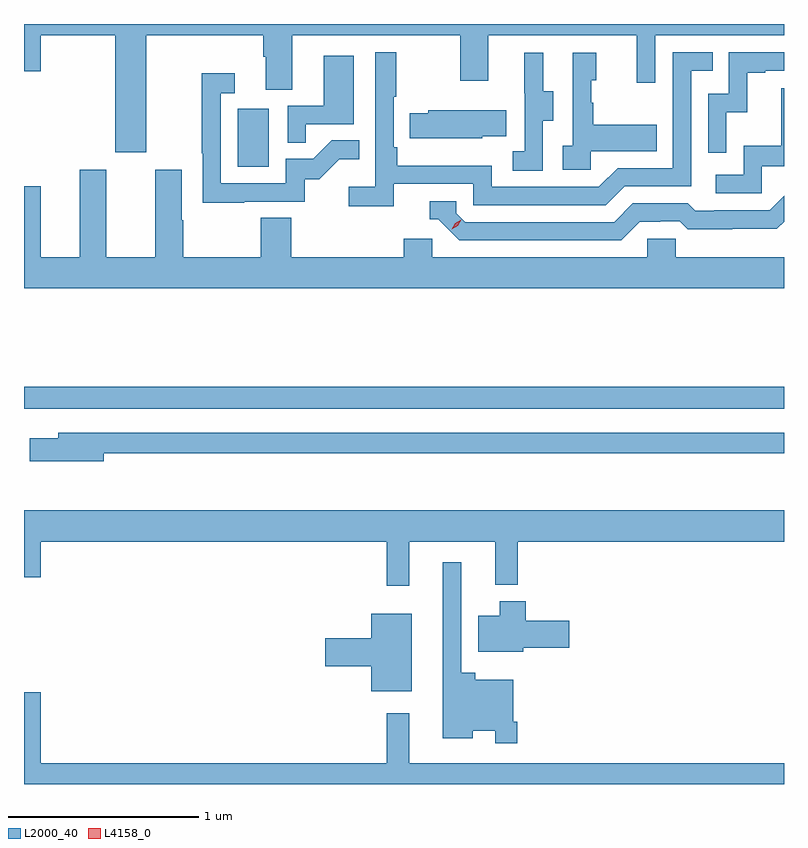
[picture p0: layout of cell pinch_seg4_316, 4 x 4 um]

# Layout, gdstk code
import gdstk
lib = gdstk.Library(unit=1e-6, precision=1e-09)
def R(c, l, rs):  # rectangles x0, y0, x1, y1
    for r in rs: c.add(gdstk.rectangle(r[:2], r[2:], *l))
def P(c, l, *ps):  # polygons
    for p in ps: c.add(gdstk.Polygon(p, *l))
L2000_40 = (2000, 40)
L4158_0 = (4158, 0)

pinch_seg4_316 = lib.new_cell('pinch_seg4_316')
R(pinch_seg4_316, L2000_40, [(908.339,804.18,912.339,804.296), (909.464,805.452,909.628,805.759)])
P(pinch_seg4_316, L2000_40, [(908.983,806.144),(909.599,806.144),(909.599,806.032),(909.611,806.032),(909.611,805.858),(909.751,805.858),(909.751,806.144),(910.636,806.144),(910.636,805.905),(910.783,805.905),(910.783,806.144),(911.564,806.144),(911.564,805.896),(911.661,805.896),(911.661,806.144),(912.339,806.144),(912.339,806.204),(908.339,806.204),(908.339,805.956),(908.428,805.956),(908.428,806.144),(908.819,806.144),(908.819,805.53),(908.983,805.53)],
  [(910.286,805.362),(910.704,805.362),(910.704,805.251),(911.401,805.251),(911.5,805.35),(911.85,805.35),(911.85,805.959),(911.963,805.959),(911.963,806.055),(911.754,806.055),(911.754,805.446),(911.463,805.446),(911.364,805.347),(910.8,805.347),(910.8,805.459),(910.304,805.459),(910.304,805.555),(910.284,805.555),(910.284,805.822),(910.297,805.822),(910.297,806.056),(910.188,806.056),(910.188,805.348),(910.047,805.348),(910.047,805.246),(910.286,805.246)],
  [(912.036,805.739),(912.146,805.739),(912.146,805.947),(912.241,805.947),(912.241,805.959),(912.339,805.959),(912.339,806.055),(912.048,806.055),(912.048,805.836),(911.94,805.836),(911.94,805.527),(912.036,805.527)],
  [(911.322,805.535),(911.669,805.535),(911.669,805.675),(911.335,805.675),(911.335,805.79),(911.325,805.79),(911.325,805.908),(911.35,805.908),(911.35,806.053),(911.226,806.053),(911.226,805.562),(911.175,805.562),(911.175,805.437),(911.322,805.437)],
  [(911.07,805.696),(911.125,805.696),(911.125,805.851),(911.071,805.851),(911.071,806.053),(910.973,806.053),(910.973,805.839),(910.974,805.839),(910.974,805.535),(910.911,805.535),(910.911,805.432),(911.07,805.432)],
  [(909.821,805.677),(910.075,805.677),(910.075,806.038),(909.917,806.038),(909.917,805.773),(909.726,805.773),(909.726,805.579),(909.821,805.579)],
  [(909.497,805.269),(909.816,805.269),(909.816,805.386),(909.892,805.386),(909.999,805.493),(910.103,805.493),(910.103,805.592),(909.959,805.592),(909.861,805.494),(909.717,805.494),(909.717,805.365),(909.375,805.365),(909.375,805.839),(909.448,805.839),(909.448,805.945),(909.274,805.945),(909.274,805.525),(909.279,805.525),(909.279,805.264),(909.497,805.264)],
  [(912.222,805.455),(912.339,805.455),(912.339,805.867),(912.325,805.867),(912.325,805.564),(912.126,805.564),(912.126,805.41),(911.979,805.41),(911.979,805.314),(912.222,805.314)],
  [(910.752,805.613),(910.877,805.613),(910.877,805.75),(910.467,805.75),(910.467,805.734),(910.369,805.734),(910.369,805.604),(910.752,805.604)],
  [(912.339,804.976),(911.769,804.976),(911.769,805.074),(911.619,805.074),(911.619,804.976),(910.488,804.976),(910.488,805.074),(910.337,805.074),(910.337,804.976),(909.746,804.976),(909.746,805.184),(909.586,805.184),(909.586,804.976),(909.177,804.976),(909.177,805.172),(909.169,805.172),(909.169,805.438),(909.029,805.438),(909.029,804.976),(908.773,804.976),(908.773,805.438),(908.633,805.438),(908.633,804.976),(908.428,804.976),(908.428,805.351),(908.339,805.351),(908.339,804.812),(912.339,804.812)],
  [(911.581,805.164),(911.688,805.164),(911.688,805.167),(911.791,805.167),(911.833,805.125),(912.066,805.125),(912.066,805.127),(912.302,805.127),(912.339,805.164),(912.339,805.299),(912.264,805.224),(911.971,805.224),(911.971,805.221),(911.872,805.221),(911.833,805.26),(911.544,805.26),(911.445,805.161),(910.662,805.161),(910.614,805.209),(910.614,805.272),(910.475,805.272),(910.475,805.176),(910.518,805.176),(910.629,805.065),(911.482,805.065)],
  [(908.758,803.946),(912.339,803.946),(912.339,804.054),(908.519,804.054),(908.519,804.025),(908.37,804.025),(908.37,803.903),(908.758,803.903)],
  [(910.367,803.48),(910.82,803.48),(910.82,803.252),(910.937,803.252),(910.937,803.48),(912.339,803.48),(912.339,803.644),(908.339,803.644),(908.339,803.292),(908.428,803.292),(908.428,803.48),(910.249,803.48),(910.249,803.247),(910.367,803.247)],
  [(910.934,802.531),(910.914,802.531),(910.914,802.753),(910.715,802.753),(910.715,802.789),(910.641,802.789),(910.641,803.371),(910.544,803.371),(910.544,802.445),(910.702,802.445),(910.702,802.484),(910.818,802.484),(910.818,802.419),(910.934,802.419)],
  [(910.966,802.922),(911.209,802.922),(911.209,803.064),(910.979,803.064),(910.979,803.167),(910.844,803.167),(910.844,803.089),(910.73,803.089),(910.73,802.901),(910.966,802.901)],
  [(910.381,803.101),(910.166,803.101),(910.166,802.97),(909.924,802.97),(909.924,802.823),(910.166,802.823),(910.166,802.691),(910.381,802.691)],
  [(910.249,802.576),(910.249,802.312),(908.428,802.312),(908.428,802.687),(908.339,802.687),(908.339,802.204),(912.339,802.204),(912.339,802.312),(910.366,802.312),(910.366,802.576)])
P(pinch_seg4_316, L4158_0, [(910.591,805.123),(910.591,805.123),(910.608,805.155),(910.639,805.174),(910.639,805.174),(910.639,805.174),(910.622,805.142),(910.591,805.123)])

lib.write_gds('pinch_seg4_316.gds')
